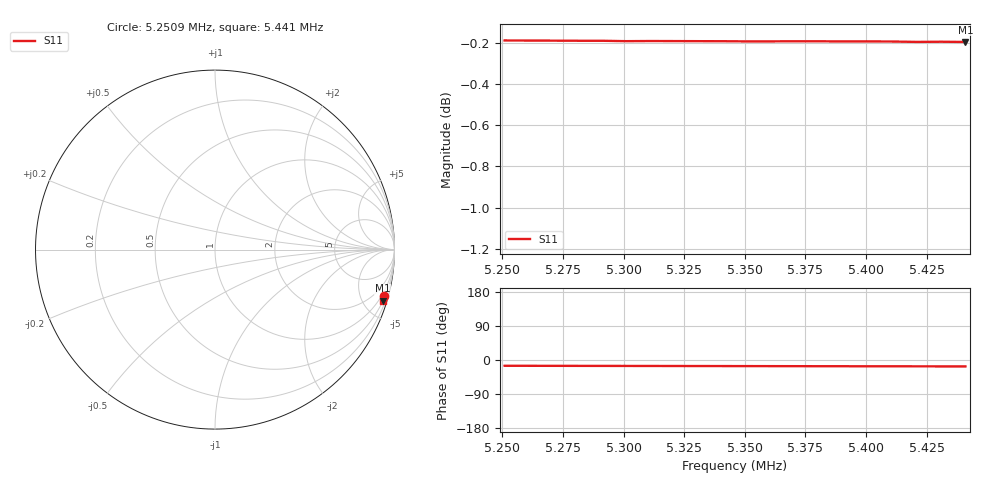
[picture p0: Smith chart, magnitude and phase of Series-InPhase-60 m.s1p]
# HZ S RI R 50
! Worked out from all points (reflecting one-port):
!   20 points, 5.2509 MHz to 5.441 MHz, reference 50 ohm
!   lowest |S11| = -0.2 dB at 5.441 MHz (marker M1), VSWR 89.26, Z = 25.7 - j334 ohm
!   phase of S11 starts at -15 deg and turns -2 deg over the sweep
5250900  0.9443 -0.2569
5260904  0.9439 -0.2585
5270908  0.9434 -0.2599
5280912  0.943 -0.2613
5290916  0.9425 -0.2628
5300920  0.9419 -0.2642
5310924  0.9416 -0.2657
5320928  0.9412 -0.2671
5330932  0.9407 -0.2686
5340936  0.9402 -0.2701
5350940  0.9397 -0.2715
5360944  0.9393 -0.273
5370948  0.9389 -0.2746
5380952  0.9384 -0.276
5390956  0.9379 -0.2774
5400960  0.9375 -0.279
5410964  0.937 -0.2804
5420968  0.9364 -0.2818
5430972  0.936 -0.2833
5440976  0.9355 -0.2847
